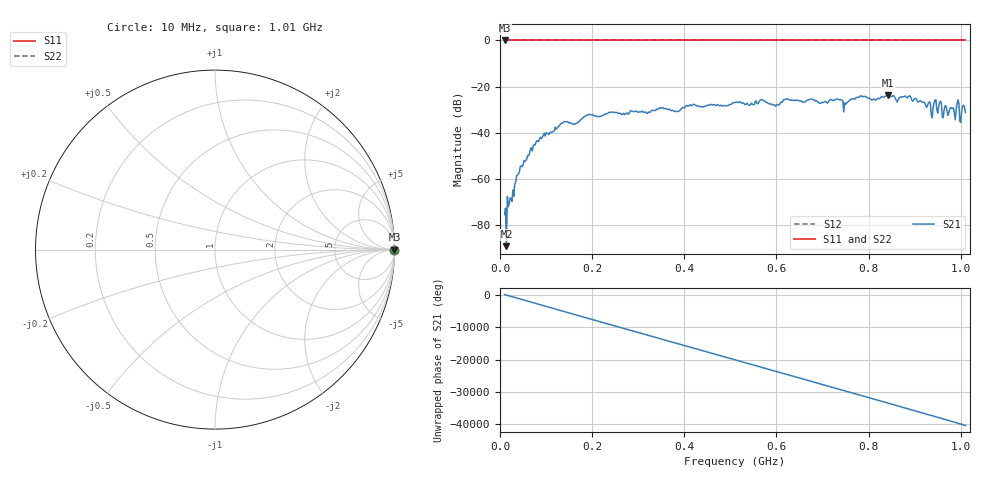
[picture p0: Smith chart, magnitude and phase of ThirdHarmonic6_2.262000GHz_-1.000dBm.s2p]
! 8/17/2025 2:48:05 AM
! C:\ANRITSUVNA\TEMP\TEMP.S2P
! CHANNEL.1
! TR.MEASUREMENT
! RAW.DATA
! RF.CORRECTION.OFF
! AVERAGING.OFF
! IF.BANDWIDTH: 5KHZ
! SWEEPTYPE:  FREQ.SWEEP(Linear)
! Reference Plane Port Info
! PORT:  PORT1  PORT2
! DISTANCE:  0  m  0  m
! TIME:  0  s  0  s
! PHASE.OFFSET:  0  deg.  0  deg.
! LOSS:  0  dB  0  dB
! REF.LOSS:  0  dB  0  dB
! REF.FREQ:  0  Hz  0  Hz
! Power Info
! POWER:  -20  dBm  -20  dBm
! EFF.POWER:  -20  dBm  -20  dBm
! SOURCE.ATTEN:  0  dB  0  dB
! TEST.ATTEN:  0  dB  0  dB
# GHZ S RI R 50.0
! FREQ.GHZ  S11RE  S11IM  S21RE  S21IM  S12RE  S12IM  S22RE  S22IM
!; PortSelection: Port_12
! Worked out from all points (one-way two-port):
!   501 points, 10 MHz to 1.01 GHz, reference 50 ohm
!   highest |S21| = -23.77 dB at 842 MHz (marker M1); lowest = -89.3 dB at 14 MHz (marker M2)
!   lowest |S11| = 0.0 dB at 10 MHz (marker M3)
!   |S11| at or under -10 dB: nowhere
!   |S22| runs from 0.0 to 0.0 dB; largest |S21 - S12| = 1.1
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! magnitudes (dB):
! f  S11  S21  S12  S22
! 10 MHz  0.0  -75.6  0.0  0.0
! 14 MHz  0.0  -89.3  0.0  0.0
! 40 MHz  0.0  -58.0  0.0  0.0
! 76 MHz  0.0  -45.4  0.0  0.0
! 136 MHz  0.0  -35.8  0.0  0.0
! 178 MHz  0.0  -33.9  0.0  0.0
! 344 MHz  0.0  -29.7  0.0  0.0
! 384 MHz  0.0  -30.8  0.0  0.0
! 510 MHz  0.0  -26.9  0.0  0.0
! 602 MHz  0.0  -27.8  0.0  0.0
! 620 MHz  0.0  -25.7  0.0  0.0
! 678 MHz  0.0  -25.6  0.0  0.0
! 736 MHz  0.0  -25.7  0.0  0.0
! 750 MHz  0.0  -27.7  0.0  0.0
! 780 MHz  0.0  -24.5  0.0  0.0
! 842 MHz  0.0  -23.8  0.0  0.0
! 844 MHz  0.0  -23.8  0.0  0.0
! 888 MHz  0.0  -24.1  0.0  0.0
! 938 MHz  0.0  -33.6  0.0  0.0
! 944 MHz  0.0  -25.9  0.0  0.0
! 964 MHz  0.0  -29.9  0.0  0.0
! 1.01 GHz  0.0  -31.3  0.0  0.0
